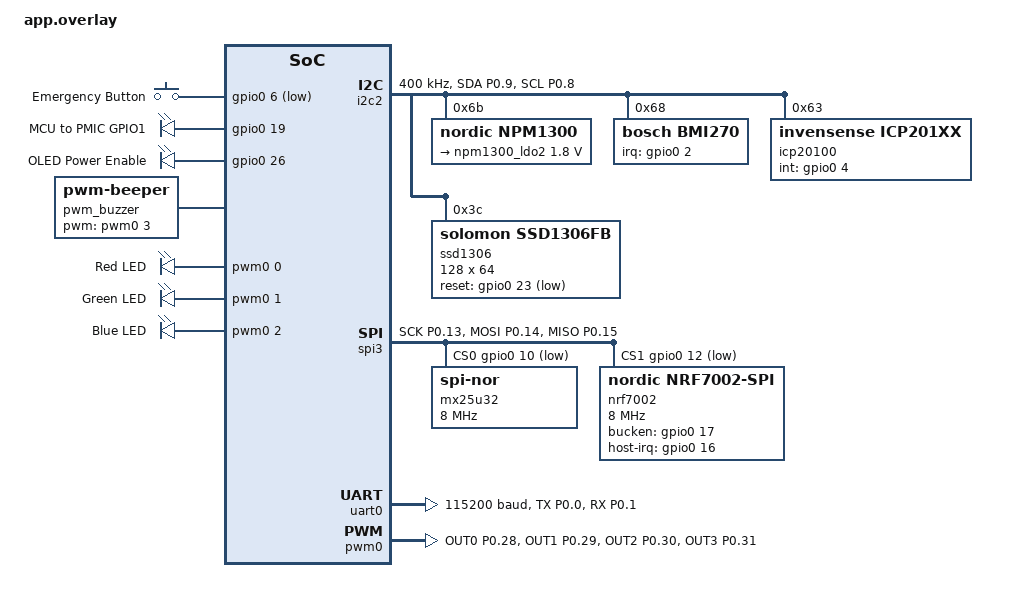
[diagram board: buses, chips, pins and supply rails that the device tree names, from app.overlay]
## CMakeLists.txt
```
# Require a minimum CMake version (Standard for NCS)
cmake_minimum_required(VERSION 3.20.0)

# Find the Zephyr package. This is the magic line that loads the whole RTOS.
find_package(Zephyr REQUIRED HINTS $ENV{ZEPHYR_BASE})

# Name your specific project
project(barometer_test)

# Tell CMake where your C source code lives
target_sources(app PRIVATE src/main.c)
```

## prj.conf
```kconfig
# ==========================================================
# CONSOLE & LOGGING
# ==========================================================
CONFIG_SERIAL=y
CONFIG_CONSOLE=y
CONFIG_STDOUT_CONSOLE=y
CONFIG_PRINTK=y
CONFIG_PICOLIBC_IO_FLOAT=y

# ==========================================================
# I2C BUS & PMIC (Required for bus stability)
# ==========================================================
CONFIG_I2C=y
CONFIG_MFD_NPM13XX=y
CONFIG_REGULATOR=y
CONFIG_REGULATOR_NPM13XX=y

# ==========================================================
# SENSORS: TDK ICP-201XX BAROMETER
# ==========================================================
CONFIG_SENSOR=y
CONFIG_ICP201XX=y

# Note: We must also enable the BMI270 because it shares the 
# I2C bus in the overlay, otherwise the linker complains.
CONFIG_BMI270=y
```

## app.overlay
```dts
&pinctrl {
    /* --- UART0 --- */
    uart0_default: uart0_default {
        group1 {
            psels = <NRF_PSEL(UART_TX, 0, 0)>,
                    <NRF_PSEL(UART_RX, 0, 1)>;
        };
    };
    uart0_sleep: uart0_sleep {
        group1 {
            psels = <NRF_PSEL(UART_TX, 0, 0)>,
                    <NRF_PSEL(UART_RX, 0, 1)>;
            low-power-enable;
        };
    };

    i2c2_default: i2c2_default {
        group1 {
            psels = <NRF_PSEL(TWIM_SDA, 0, 9)>,
                    <NRF_PSEL(TWIM_SCL, 0, 8)>;
        };
    };
    i2c2_sleep: i2c2_sleep {
        group1 {
            psels = <NRF_PSEL(TWIM_SDA, 0, 9)>,
                    <NRF_PSEL(TWIM_SCL, 0, 8)>;
            low-power-enable;
        };
    };

    /* --- SPI3 --- */
    spi3_default: spi3_default {
        group1 {
            psels = <NRF_PSEL(SPIM_SCK, 0, 13)>,
                    <NRF_PSEL(SPIM_MOSI, 0, 14)>,
                    <NRF_PSEL(SPIM_MISO, 0, 15)>;
        };
    };
    spi3_sleep: spi3_sleep {
        group1 {
            psels = <NRF_PSEL(SPIM_SCK, 0, 13)>,
                    <NRF_PSEL(SPIM_MOSI, 0, 14)>,
                    <NRF_PSEL(SPIM_MISO, 0, 15)>;
            low-power-enable;
        };
    };

    /* --- PWM0 --- */
    pwm0_default: pwm0_default {
        group1 {
            /* RED=P0.28, GREEN=P0.29, BLUE=P0.30, BUZZER=P0.31 */
            psels = <NRF_PSEL(PWM_OUT0, 0, 28)>,
                    <NRF_PSEL(PWM_OUT1, 0, 29)>,
                    <NRF_PSEL(PWM_OUT2, 0, 30)>,
                    <NRF_PSEL(PWM_OUT3, 0, 31)>;
        };
    };
    pwm0_sleep: pwm0_sleep {
        group1 {
            psels = <NRF_PSEL(PWM_OUT0, 0, 28)>,
                    <NRF_PSEL(PWM_OUT1, 0, 29)>,
                    <NRF_PSEL(PWM_OUT2, 0, 30)>,
                    <NRF_PSEL(PWM_OUT3, 0, 31)>;
            low-power-enable;
        };
    };
};

&i2c2 {
    status = "okay";
    pinctrl-0 = <&i2c2_default>;
    pinctrl-1 = <&i2c2_sleep>;
    pinctrl-names = "default", "sleep";
    clock-frequency = <I2C_BITRATE_FAST>;

    /* Allocate RAM buffer for the BMI270 8KB config bursts */
    zephyr,concat-buf-size = <2048>;
    zephyr,flash-buf-max-size = <2048>;

    npm1300: pmic@6b {
        compatible = "nordic,npm1300";
        reg = <0x6b>;
        status = "okay"; /* Enable the PMIC parent */

        npm1300_regulators: regulators {
            compatible = "nordic,npm1300-regulator";
            status = "okay"; /* Enable the regulator subsystem */

            npm1300_ldo1: LDO1 {
                regulator-boot-on;
            };

            npm1300_ldo2: LDO2 {
                /* Set the voltage to 1.8V */
                regulator-min-microvolt = <1800000>;
                regulator-max-microvolt = <1800000>;
                regulator-init-microvolt = <1800000>;

                /* Force early power-on during boot */
                regulator-boot-on;
                regulator-always-on;
            };
        };

        npm1300_charger: charger {
            compatible = "nordic,npm1300-charger";
            status = "okay";
            /* Increase USB input current limit to 500mA to prevent boot brownouts */
            vbus-limit-microamp = <500000>;
            term-microvolt = <4200000>;
            current-microamp = <400000>;
            dischg-limit-microamp = <1000000>;
            thermistor-ohms = <10000>;
            thermistor-beta = <3380>;
        };

    };


    /* Bosch BMI270 IMU */
    bmi270: bmi270@68 {
        compatible = "bosch,bmi270";
        reg = <0x68>;
        irq-gpios = <&gpio0 2 GPIO_ACTIVE_HIGH>;
    };

    /* TDK Barometer */
    icp20100: icp20100@63 {
        compatible = "invensense,icp201xx";
        reg = <0x63>;
        int-gpios = <&gpio0 4 GPIO_ACTIVE_HIGH>;
    };

    /* OLED Display */
    ssd1306: ssd1306@3c {
        compatible = "solomon,ssd1306fb";
        reg = <0x3c>;
        width = <128>;
        height = <64>;
        segment-offset = <0>;
        page-offset = <0>;
        display-offset = <0>;
        multiplex-ratio = <63>;
        prechargep = <0x22>;
        reset-gpios = <&gpio0 23 GPIO_ACTIVE_LOW>;
    };
};

&spi3 {
    status = "okay";
    pinctrl-0 = <&spi3_default>;
    pinctrl-1 = <&spi3_sleep>;
    pinctrl-names = "default", "sleep";

    cs-gpios = <&gpio0 10 GPIO_ACTIVE_LOW>,
               <&gpio0 12 GPIO_ACTIVE_LOW>;

    /* NOR Flash (32Mb) */
    mx25u32: flash@0 {
        compatible = "jedec,spi-nor";
        reg = <0>;
        spi-max-frequency = <8000000>;
        size = <33554432>;
        jedec-id = [c2 25 36];
    };

    /* Wi-Fi Companion (nRF7002) */
    nrf7002: wifi@1 {
        compatible = "nordic,nrf7002-spi";
        reg = <1>;
        bucken-gpios = <&gpio0 17 GPIO_ACTIVE_HIGH>;
        host-irq-gpios = <&gpio0 16 GPIO_ACTIVE_HIGH>;
        spi-max-frequency = <8000000>;

        /* TX Power Limits (Required for RF Regulatory Compliance) */
        wifi-max-tx-pwr-2g-dsss = <16>;
        wifi-max-tx-pwr-2g-mcs0 = <16>;
        wifi-max-tx-pwr-2g-mcs7 = <15>;
        wifi-max-tx-pwr-5g-low-mcs0 = <14>;
        wifi-max-tx-pwr-5g-low-mcs7 = <13>;
        wifi-max-tx-pwr-5g-mid-mcs0 = <14>;
        wifi-max-tx-pwr-5g-mid-mcs7 = <13>;
        wifi-max-tx-pwr-5g-high-mcs0 = <14>;
        wifi-max-tx-pwr-5g-high-mcs7 = <13>;
    };
};

/ {
    aliases {
        sw0 = &button_em;
        buzzer = &pwm_buzzer;
        led0 = &led_red;
        led1 = &led_green;
        led2 = &led_blue;
        pmic-gpio1 = &mcu_to_pmic_gpio1;
    };

    buttons {
        compatible = "gpio-keys";
        button_em: button_0 {
            gpios = <&gpio0 6 (GPIO_PULL_UP | GPIO_ACTIVE_LOW)>;
            label = "Emergency Button";
        };
    };

    /* Custom Routing */
    custom_gpios {
        compatible = "gpio-leds";

        /* MCU P0.19 wired to PMIC GPIO1 */
        mcu_to_pmic_gpio1: mcu_to_pmic_gpio1 {
            gpios = <&gpio0 19 GPIO_ACTIVE_HIGH>;
            label = "MCU to PMIC GPIO1";
        };
    };

    /* Display Power Control Pin */
    display_ctrl {
        compatible = "gpio-leds";
        disp_power_en: disp_power_en {
            gpios = <&gpio0 26 GPIO_ACTIVE_HIGH>;
            label = "OLED Power Enable";
        };
    };

    /* Buzzer PWM routing */
    pwm_buzzer: pwm_buzzer {
        compatible = "pwm-beeper";
        pwms = <&pwm0 3 PWM_HZ(4000) PWM_POLARITY_NORMAL>;
    };

    pwmleds {
        compatible = "pwm-leds";
        led_red: led_pwm_0 {
            pwms = <&pwm0 0 PWM_MSEC(20) PWM_POLARITY_NORMAL>;
            label = "Red LED";
        };
        led_green: led_pwm_1 {
            pwms = <&pwm0 1 PWM_MSEC(20) PWM_POLARITY_NORMAL>;
            label = "Green LED";
        };
        led_blue: led_pwm_2 {
            pwms = <&pwm0 2 PWM_MSEC(20) PWM_POLARITY_NORMAL>;
            label = "Blue LED";
        };
    };
};

/* Enable UART0 */
&uart0 {
    status = "okay";
    pinctrl-0 = <&uart0_default>;
    pinctrl-1 = <&uart0_sleep>;
    pinctrl-names = "default", "sleep";
    current-speed = <115200>;
};

/* Enable PWM0 */
&pwm0 {
    status = "okay";
    pinctrl-0 = <&pwm0_default>;
    pinctrl-1 = <&pwm0_sleep>;
    pinctrl-names = "default", "sleep";
};
```

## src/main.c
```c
#include <zephyr/kernel.h>
#include <zephyr/device.h>
#include <zephyr/drivers/sensor.h>
#include <stdio.h>

/* Grab the node from your app.overlay file */
#define ICP20100_NODE DT_NODELABEL(icp20100)

int main(void)
{
    printf("\n=========================================\n");
    printf(" TDK ICP-201XX Barometer Hardware Test\n");
    printf("=========================================\n");

    /* Get the device binding for the Barometer */
    const struct device *const icp_dev = DEVICE_DT_GET(ICP20100_NODE);

    /* Verify the hardware driver compiled into the kernel */
    if (!device_is_ready(icp_dev)) {
        printf("[FATAL ERROR] Barometer driver is not ready!\n");
        printf("Did you forget to flick SW1 to the ON position?\n");
        return 0;
    }
    
    printf("[SUCCESS] Found %s on the I2C bus.\n\n", icp_dev->name);

    struct sensor_value pressure;
    struct sensor_value temp;

    /* The Polling Loop */
    while (1) {
        /* Fetch the data from the physical chip registers */
        if (sensor_sample_fetch(icp_dev) < 0) {
            printf("[ERROR] Failed to fetch sample from sensor. Is the switch still ON?\n");
            k_sleep(K_SECONDS(2));
            continue;
        }

        /* Read the specific channels */
        sensor_channel_get(icp_dev, SENSOR_CHAN_PRESS, &pressure);
        sensor_channel_get(icp_dev, SENSOR_CHAN_AMBIENT_TEMP, &temp);

        /* Convert the Zephyr fixed-point struct into standard floats for printing */
        printf("Pressure: %.3f kPa  |  Temperature: %.2f °C\n",
               sensor_value_to_double(&pressure),
               sensor_value_to_double(&temp));

        k_sleep(K_MSEC(1000));
    }

    return 0;
}
```
